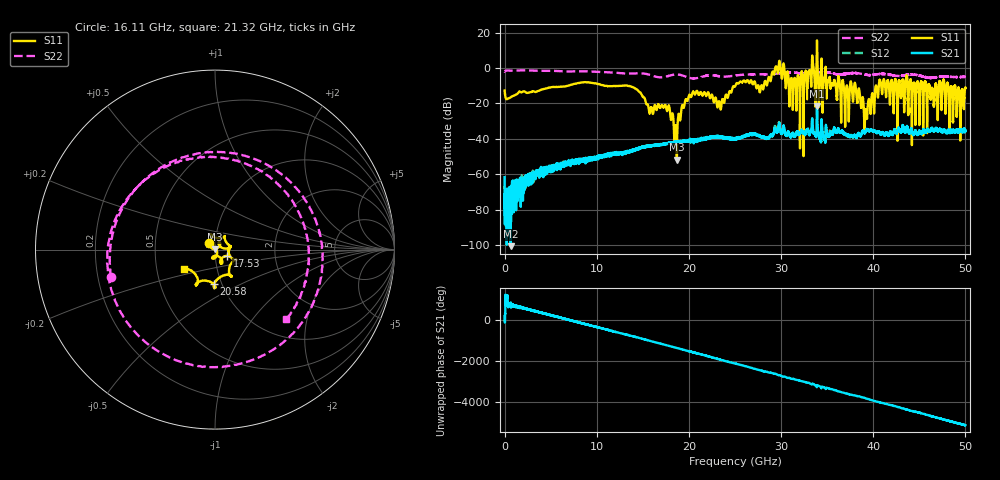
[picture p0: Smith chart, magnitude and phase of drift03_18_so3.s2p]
!Created with skrf (http://scikit-rf.org).
# Hz S RI R 50.0
!freq ReS11 ImS11 ReS21 ImS21 ReS12 ImS12 ReS22 ImS22
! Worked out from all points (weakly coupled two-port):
!   10001 points, 300 kHz to 50 GHz, reference 50 ohm
!   highest |S21| = -21.56 dB at 33.9 GHz (marker M1); lowest = -100.7 dB at 650.3 MHz (marker M2)
!   lowest |S11| = -51.8 dB at 18.69 GHz (marker M3), VSWR 1.01, Z = 49.8 + j0.197 ohm
!   |S11| at or under -10 dB: start of sweep to 6.948 GHz; 13.32 GHz to 25.04 GHz (11.72 GHz wide, 61.1 % of centre); 38.08 GHz to 40.28 GHz (2.199 GHz wide, 5.61 % of centre) (the widest 3 of 61)
!   |S22| runs from -5.9 to -1.3 dB; largest |S21 - S12| = 0.0078
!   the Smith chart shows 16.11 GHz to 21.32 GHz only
!   S11 on the Smith chart (normalised r, x): 16.11 GHz: 0.93, +0.07; 17.53 GHz: 1.14, -0.08; 20.58 GHz: 0.92, -0.37; 21.32 GHz: 0.69, -0.16
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300000  -0.2099 -0.0982  -0.000819 8.54e-05  -0.000322 0.000368  -0.7676 -0.1868
6.502961e8  -0.0358 0.1435  5.38e-06 -7.55e-06  0.000281 1.73e-06  -0.2107 0.8168
2.330286e9  0.0243 -0.2015  -0.000661 -0.00028  -0.000716 7.94e-05  0.0968 -0.8508
3.935276e9  -0.0192 0.2405  0.000899 -9.23e-05  0.00102 -0.00018  -0.03 0.8322
5.470267e9  0.0678 -0.2814  -0.00167 9.16e-05  -0.00184 6.85e-05  0.1681 -0.8092
8.33525e9  0.2835 -0.267  -0.00228 -0.000768  -0.00224 -0.000892  0.6007 -0.5361
1.043024e10  -0.0423 0.332  0.00235 -0.00189  0.00276 -0.00171  -0.0361 0.7701
1.201523e10  0.00637 -0.3088  -0.00263 0.00255  -0.00281 0.00249  0.1054 -0.7292
1.372522e10  -0.0258 0.2991  0.00269 -0.00368  0.00258 -0.00373  -0.0659 0.6925
1.61102e10  -0.0326 0.0395  0.00599 0.00213  0.00627 0.00211  -0.5783 -0.1532
1.66702e10  0.0542 0.0759  0.00474 -0.00471  0.00456 -0.00477  -0.3554 0.4199
1.752519e10  0.0671 -0.0348  -0.00617 -0.004  -0.00619 -0.00377  0.4941 0.2889
1.869019e10  -0.00162 0.00198  0.00233 0.00798  0.00237 0.00777  -0.0829 -0.6489
2.057518e10  -0.00566 -0.1935  -0.00805 -0.00381  -0.00789 -0.00436  0.3758 0.3399
2.131517e10  -0.1723 -0.1084  -0.00516 0.00782  -0.00527 0.00824  0.3969 -0.3855
2.500015e10  -0.2972 -0.0475  0.00759 0.00621  0.00791 0.00635  -0.1896 -0.5803
3.050512e10  0.2552 -0.0849  -0.00244 0.0123  -0.00308 0.0126  0.7409 -0.0597
3.213011e10  0.2059 0.3675  -0.000488 -0.0144  -0.000521 -0.0148  -0.6974 0.0154
3.33351e10  0.4157 -0.9999  -0.00507 0.0243  -0.00513 0.0241  0.6142 0.365
3.39001e10  1.463 -5.635  0.074 0.039  0.0725 0.033  0.6708 -0.3278
4.167005e10  -0.209 0.283  -0.0117 -0.00465  -0.0116 -0.00521  -0.6551 -0.0553
5e10  -0.1477 -0.2374  0.00193 -0.0169  0.00137 -0.0173  0.4618 -0.3184
